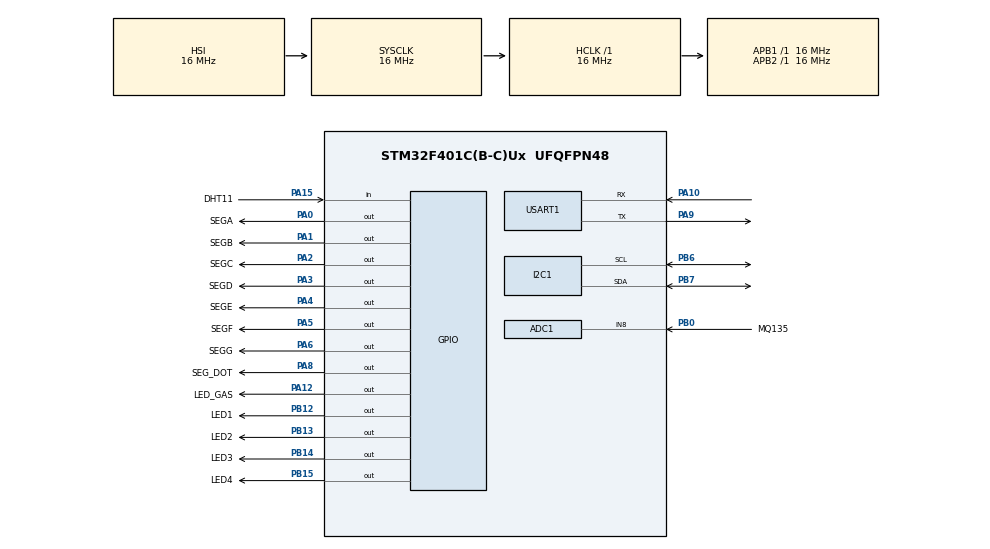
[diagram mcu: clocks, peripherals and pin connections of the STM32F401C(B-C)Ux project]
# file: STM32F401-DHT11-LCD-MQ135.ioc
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ADC1.Channel-0\#ChannelRegularConversion=ADC_CHANNEL_8
ADC1.ContinuousConvMode=ENABLE
ADC1.NbrOfConversionFlag=1
ADC1.Rank-0\#ChannelRegularConversion=1
ADC1.SamplingTime-0\#ChannelRegularConversion=ADC_SAMPLETIME_3CYCLES
ADC1.master=1
Mcu.Family=STM32F4
Mcu.Name=STM32F401C(B-C)Ux
Mcu.Package=UFQFPN48
NVIC.I2C1_EV_IRQn=true\:0\:0\:false\:true\:true\:3\:true\:true
NVIC.PriorityGroup=NVIC_PRIORITYGROUP_4
NVIC.TIM2_IRQn=true\:0\:0\:false\:true\:true\:1\:true\:true
NVIC.TIM3_IRQn=true\:0\:0\:false\:true\:true\:2\:true\:true
PA0-WKUP.GPIO_Label=SEGA
PA0-WKUP.GPIO_Speed=GPIO_SPEED_FREQ_HIGH
PA0-WKUP.Signal=GPIO_Output
PA1.GPIO_Label=SEGB
PA1.GPIO_Speed=GPIO_SPEED_FREQ_HIGH
PA1.Signal=GPIO_Output
PA10.Mode=Asynchronous
PA10.Signal=USART1_RX
PA12.GPIO_Label=LED_GAS
PA12.GPIO_Speed=GPIO_SPEED_FREQ_HIGH
PA12.Signal=GPIO_Output
PA13.Mode=Serial_Wire
PA13.Signal=SYS_JTMS-SWDIO
PA14.Mode=Serial_Wire
PA14.Signal=SYS_JTCK-SWCLK
PA15.GPIO_Label=DHT11
PA15.GPIO_PuPd=GPIO_PULLUP
PA15.Signal=GPIO_Input
PA2.GPIO_Label=SEGC
PA2.GPIO_Speed=GPIO_SPEED_FREQ_HIGH
PA2.Signal=GPIO_Output
PA3.GPIO_Label=SEGD
PA3.GPIO_Speed=GPIO_SPEED_FREQ_HIGH
PA3.Signal=GPIO_Output
PA4.GPIO_Label=SEGE
PA4.GPIO_Speed=GPIO_SPEED_FREQ_HIGH
PA4.Signal=GPIO_Output
PA5.GPIO_Label=SEGF
PA5.GPIO_Speed=GPIO_SPEED_FREQ_HIGH
PA5.Signal=GPIO_Output
PA6.GPIO_Label=SEGG
PA6.GPIO_Speed=GPIO_SPEED_FREQ_HIGH
PA6.Signal=GPIO_Output
PA8.GPIO_Label=SEG_DOT
PA8.GPIO_Speed=GPIO_SPEED_FREQ_HIGH
PA8.Signal=GPIO_Output
PA9.Mode=Asynchronous
PA9.Signal=USART1_TX
PB0.GPIO_Label=MQ135
PB0.Signal=ADCx_IN8
PB12.GPIO_Label=LED1
PB12.GPIO_Speed=GPIO_SPEED_FREQ_HIGH
PB12.Signal=GPIO_Output
PB13.GPIO_Label=LED2
PB13.GPIO_Speed=GPIO_SPEED_FREQ_HIGH
PB13.Signal=GPIO_Output
PB14.GPIO_Label=LED3
PB14.GPIO_Speed=GPIO_SPEED_FREQ_HIGH
PB14.Signal=GPIO_Output
PB15.GPIO_Label=LED4
PB15.GPIO_Speed=GPIO_SPEED_FREQ_HIGH
PB15.Signal=GPIO_Output
PB6.GPIO_Pu=GPIO_PULLUP
PB6.Mode=I2C
PB6.Signal=I2C1_SCL
PB7.GPIO_Pu=GPIO_PULLUP
PB7.Mode=I2C
PB7.Signal=I2C1_SDA
ProjectManager.HeapSize=0x200
ProjectManager.StackSize=0x400
ProjectManager.TargetToolchain=STM32CubeIDE
RCC.AHBFreq_Value=16000000
RCC.APB1Freq_Value=16000000
RCC.APB1TimFreq_Value=16000000
RCC.APB2Freq_Value=16000000
RCC.APB2TimFreq_Value=16000000
RCC.CortexFreq_Value=16000000
RCC.HCLKFreq_Value=16000000
RCC.HSE_VALUE=25000000
RCC.HSI_VALUE=16000000
RCC.LSE_VALUE=32768
RCC.SYSCLKFreq_VALUE=16000000
RCC.VCOOutputFreq_Value=192000000
SH.ADCx_IN8.0=ADC1_IN8,IN8
TIM2.Period=0xffffffff-1
TIM2.Prescaler=16-1
TIM3.AutoReloadPreload=TIM_AUTORELOAD_PRELOAD_ENABLE
TIM3.Period=9999
TIM3.Prescaler=1599
USART1.VirtualMode=VM_ASYNC
VP_TIM2_VS_ClockSourceINT.Mode=Internal
VP_TIM3_VS_ClockSourceINT.Mode=Internal
board=custom

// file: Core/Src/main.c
/* USER CODE BEGIN Header */
/**
  ******************************************************************************
  * @file           : main.c
  * @brief          : Main program body
  ******************************************************************************
  * @attention
  *
  * <h2><center>&copy; Copyright (c) 2021 STMicroelectronics.
  * All rights reserved.</center></h2>
  *
  * This software component is licensed by ST under BSD 3-Clause license,
  * the "License"; You may not use this file except in compliance with the
  * License. You may obtain a copy of the License at:
  *                        opensource.org/licenses/BSD-3-Clause
  *
  ******************************************************************************
  */
/* USER CODE END Header */
#include "main.h"

/* USER CODE BEGIN Includes */
#include "stdio.h"
/* USER CODE END Includes */

/* USER CODE BEGIN PD */
/***************************** LCD i2c ***************************************/
/* LCD control pins */
#define PIN_RS                 (1 << 0)
#define PIN_EN                 (1 << 2)
#define BACKLIGHT              (1 << 3)
/* I2C Module Address, this is Hardware dependent */
#define SLAVE_ADDRESS_LCD 		0x4E
/*LCD Commands*/
#define LCD_FUNCTION_SET1      	0x33
#define LCD_FUNCTION_SET2      	0x32
#define LCD_4BIT_2LINE_MODE    	0x28
#define LCD_DISP_CURS_ON       	0x0E
#define LCD_DISP_ON_CURS_OFF   	0x0C  //Display on, cursor off
#define LCD_DISPLAY_OFF        	0x08
#define LCD_DISPLAY_ON         	0x04
#define LCD_CLEAR_DISPLAY      	0x01
#define LCD_ENTRY_MODE_SET     	0x04
#define LCD_INCREMENT_CURSER   	0x06
#define LCD_SET_ROW1_COL1      	0x80  //Force cursor to beginning ( 1st line)
#define LCD_SET_ROW2_COL1      	0xC0  //Force cursor to beginning ( 2nd line)
#define LCD_MOVE_DISPLAY_LEFT  	0x18
#define LCD_MOVE_DISPLAY_RIGHT 	0x1C
/***************************** LCD i2c ***************************************/
/* USER CODE END PD */

/* USER CODE BEGIN PM */
/***************************** template ***************************************/
/***************************** template ***************************************/
/* USER CODE END PM */

ADC_HandleTypeDef hadc1;

I2C_HandleTypeDef hi2c1;

TIM_HandleTypeDef htim2;
TIM_HandleTypeDef htim3;

UART_HandleTypeDef huart1;

/* USER CODE BEGIN PV */

/***************************** DHT11 ***************************************/

/***************************** DHT11 ***************************************/

/* USER CODE END PV */

void SystemClock_Config(void);
static void MX_GPIO_Init(void);
static void MX_I2C1_Init(void);
static void MX_USART1_UART_Init(void);
static void MX_TIM2_Init(void);
static void MX_ADC1_Init(void);
static void MX_TIM3_Init(void);
static void MX_NVIC_Init(void);

/* USER CODE BEGIN 0 */
/***************************** LED 7 THANH ***************************************/
uint8_t SEG7_LOOKUP_TABLE[] = {0b11111100, 0b01100000, 0b11011010, 0b11110010, 0b01100110, 0b10110110, 0b10111110, 0b11100000, 0b11111110, 0b11110110};
uint8_t SEG7_LED_LOOKUP_TABLE[] = {0b00000000, 0b00001000, 0b00000100, 0b00000010, 0b00000001};
uint8_t SEG7_Multiplex = 1;
int SEG7_displayNumber;
// seg_data tuong ung 0bABCDEFGdot
// led_data 0bxxxx1234 tuong tung led 7 thanh so 1, so 2, so 3, so 4
void SEG7_Display(uint8_t seg_data, uint8_t led_data)
{
	HAL_GPIO_WritePin(SEGA_GPIO_Port, SEGA_Pin, seg_data&0b10000000);
	HAL_GPIO_WritePin(SEGB_GPIO_Port, SEGB_Pin, seg_data&0b01000000);
	HAL_GPIO_WritePin(SEGC_GPIO_Port, SEGC_Pin, seg_data&0b00100000);
	HAL_GPIO_WritePin(SEGD_GPIO_Port, SEGD_Pin, seg_data&0b00010000);
	HAL_GPIO_WritePin(SEGE_GPIO_Port, SEGE_Pin, seg_data&0b00001000);
	HAL_GPIO_WritePin(SEGF_GPIO_Port, SEGF_Pin, seg_data&0b00000100);
	HAL_GPIO_WritePin(SEGG_GPIO_Port, SEGG_Pin, seg_data&0b00000010);
	HAL_GPIO_WritePin(SEG_DOT_GPIO_Port, SEG_DOT_Pin, seg_data&0b00000001);

	HAL_GPIO_WritePin(GPIOB, LED1_Pin, !(led_data&0b00001000));
	HAL_GPIO_WritePin(GPIOB, LED2_Pin, !(led_data&0b00000100));
	HAL_GPIO_WritePin(GPIOB, LED3_Pin, !(led_data&0b00000010));
	HAL_GPIO_WritePin(GPIOB, LED4_Pin, !(led_data&0b00000001));
}

void display_number(int number)
{
	char temp;
	switch(SEG7_Multiplex)
	{
	case 1:
		temp = number%10;
		number /= 10;
	case 2:
		temp = number%10;
		number /= 10;
	case 3:
		temp = number%10;
		number /= 10;
	case 4:
		temp = number%10;
	}
	if(SEG7_Multiplex == 3) // truong hop co dau cham
	{
		SEG7_Display(SEG7_LOOKUP_TABLE[temp]|0x01, SEG7_LED_LOOKUP_TABLE[SEG7_Multiplex]);
	}
	else
	{
		SEG7_Display(SEG7_LOOKUP_TABLE[temp], SEG7_LED_LOOKUP_TABLE[SEG7_Multiplex]);
	}
	SEG7_Multiplex++;
	if(SEG7_Multiplex > 4)
	{
		SEG7_Multiplex = 1;
	}
}
/***************************** LED 7 THANH ***************************************/

/***************************** TIMER ***************************************/
void HAL_TIM_PeriodElapsedCallback(TIM_HandleTypeDef *htim)
{
	if(htim->Instance == TIM3)
	{
		char temp;
		int number = SEG7_displayNumber;
			switch(SEG7_Multiplex)
			{
			case 1:
				temp = number%10;
				number /= 10;
			case 2:
				temp = number%10;
				number /= 10;
			case 3:
				temp = number%10;
				number /= 10;
			case 4:
				temp = number%10;
			}
			if(SEG7_Multiplex == 3) // truong hop co dau cham
			{
				SEG7_Display(SEG7_LOOKUP_TABLE[temp]|0x01, SEG7_LED_LOOKUP_TABLE[SEG7_Multiplex]);
			}
			else
			{
				SEG7_Display(SEG7_LOOKUP_TABLE[temp], SEG7_LED_LOOKUP_TABLE[SEG7_Multiplex]);
			}
			SEG7_Multiplex++;
			if(SEG7_Multiplex > 4)
			{
				SEG7_Multiplex = 1;
			}
	}
}
/***************************** TIMER ***************************************/

/***************************** DHT11 ***************************************/
uint8_t DHT11_Temperature = 0;
uint8_t DHT11_Humidity = 0;
uint8_t hByte1, hByte2, tByte1, tByte2, presence;
uint8_t checksum;
/**
  * @brief GPIO Initialization Function
  * @param None
  * @retval None
  */
static void DHT11_GpioInput(void)
{
  GPIO_InitTypeDef GPIO_InitStruct = {0};
  /*Configure GPIO pin : PC13 */
  GPIO_InitStruct.Pin = GPIO_PIN_15;
  GPIO_InitStruct.Mode = GPIO_MODE_INPUT;
  GPIO_InitStruct.Pull = GPIO_PULLUP;
  HAL_GPIO_Init(GPIOA, &GPIO_InitStruct);
}

/**
  * @brief GPIO Initialization Function
  * @param None
  * @retval None
  */
static void DHT11_GpioOutput(void)
{
  GPIO_InitTypeDef GPIO_InitStruct = {0};
  /*Configure GPIO pin Output Level */
  HAL_GPIO_WritePin(GPIOA, GPIO_PIN_15, GPIO_PIN_RESET);

  /*Configure GPIO pin : PC13 */
  GPIO_InitStruct.Pin = GPIO_PIN_15;
  GPIO_InitStruct.Mode = GPIO_MODE_OUTPUT_PP;
  GPIO_InitStruct.Pull = GPIO_NOPULL;
  GPIO_InitStruct.Speed = GPIO_SPEED_FREQ_HIGH;
  HAL_GPIO_Init(GPIOA, &GPIO_InitStruct);
}

// hàm delay us trong quá trình doc dữ liệu từ dht11
void TIM2_DelayUs(uint16_t us)
{
  __HAL_TIM_SET_COUNTER(&htim2, 0);
  while ((uint16_t)__HAL_TIM_GET_COUNTER(&htim2) < us)
    ;
}

// gửi tín hiệu bắt đầu truy�?n dữ liệu cho dht11
void DHT11_SendStart(void)
{
  DHT11_GpioOutput();
  HAL_GPIO_WritePin(GPIOA, GPIO_PIN_15, GPIO_PIN_RESET);
  HAL_Delay(18);
  HAL_GPIO_WritePin(GPIOA, GPIO_PIN_15, GPIO_PIN_SET);
  TIM2_DelayUs(20);
  DHT11_GpioInput();
}

// hàm kiểm tra phản hồi của dht11
uint8_t DHT11_CheckRespone(void)
{
  uint8_t respone = 0;
  TIM2_DelayUs(40);
  if (!HAL_GPIO_ReadPin(GPIOA, GPIO_PIN_15))
  {
    TIM2_DelayUs(80);
    if ((HAL_GPIO_ReadPin(GPIOA, GPIO_PIN_15)))
    {
      respone = 1;
    }
    else
    {
      respone = -1;
    }
  }
  while (HAL_GPIO_ReadPin(GPIOA, GPIO_PIN_15))
    ;
  return respone;
}

// đ�?c 1 byte dữ liệu từ dht11
uint8_t DHT11_ReadByte(void)
{
  uint8_t ret = 0, i;
  for (i = 0; i < 8; i++)
  {
    while (!HAL_GPIO_ReadPin(GPIOA, GPIO_PIN_15))
      ;
    TIM2_DelayUs(40);
    if (!HAL_GPIO_ReadPin(GPIOA, GPIO_PIN_15))
    {
      ret &= ~(1 << (7 - i));
    }
    else
    {
      ret |= (1 << (7 - i));
    }
    while ((HAL_GPIO_ReadPin(GPIOA, GPIO_PIN_15)))
      ;
  }
  return ret;
}

// đ�?c dữ liệu từ dht11 và chuyển đổi thành giá trị nhiệt độ và độ ẩm
void DHT11_ReadSensor(void)
{
  DHT11_SendStart();
  presence = DHT11_CheckRespone();
  hByte1 = DHT11_ReadByte();
  hByte2 = DHT11_ReadByte();
  tByte1 = DHT11_ReadByte();
  tByte2 = DHT11_ReadByte();
  checksum = DHT11_ReadByte();
  DHT11_Temperature = tByte1;
  DHT11_Humidity = hByte1;
}
/***************************** DHT11 ***************************************/

/***************************** LCD1602 I2C ***************************************/
void LCD_send_cmd (char cmd)
{
  char data_u, data_l;
	uint8_t data_t[4];
	data_u = (cmd&0xf0);
	data_l = ((cmd<<4)&0xf0);
	data_t[0] = data_u|0x0C;  //en=1, rs=0
	data_t[1] = data_u|0x08;  //en=0, rs=0
	data_t[2] = data_l|0x0C;  //en=1, rs=0
	data_t[3] = data_l|0x08;  //en=0, rs=0
	HAL_I2C_Master_Transmit(&hi2c1, SLAVE_ADDRESS_LCD,(uint8_t *) data_t, 4, 100);
}

void LCD_send_data (char data)
{
	char data_u, data_l;
	uint8_t data_t[4];
	data_u = (data&0xf0);
	data_l = ((data<<4)&0xf0);
	data_t[0] = data_u|0x0D;  //en=1, rs=0
	data_t[1] = data_u|0x09;  //en=0, rs=0
	data_t[2] = data_l|0x0D;  //en=1, rs=0
	data_t[3] = data_l|0x09;  //en=0, rs=0
	HAL_I2C_Master_Transmit(&hi2c1, SLAVE_ADDRESS_LCD,(uint8_t *) data_t, 4, 100);
}

void LCD_init (void)
{
	// 4 bit init
	HAL_Delay(50);  // wait for >40ms
	LCD_send_cmd (0x30);
	HAL_Delay(5);  // wait for >4.1ms
	LCD_send_cmd (0x30);
	HAL_Delay(1);  // wait for >100us
	LCD_send_cmd (0x30);
	HAL_Delay(10);
	LCD_send_cmd (0x20);  // 4bit mode
	HAL_Delay(10);

  // dislay init
	LCD_send_cmd (0x28); // Function set --> DL=0 (4 bit mode), N = 1 (2 line display) F = 0 (5x8 characters)
	HAL_Delay(1);
	LCD_send_cmd (0x08); //Display on/off control --> D=0,C=0, B=0  ---> display off
	HAL_Delay(1);
	LCD_send_cmd (0x01);  // clear display
	HAL_Delay(1);
	HAL_Delay(1);
	LCD_send_cmd (0x06); //Entry mode set --> I/D = 1 (increment cursor) & S = 0 (no shift)
	HAL_Delay(1);
	LCD_send_cmd (0x0C); //Display on/off control --> D = 1, C and B = 0. (Cursor and blink, last two bits)
}

void LCD_send_string (char *str)
{
	while (*str) LCD_send_data (*str++);
}

void LCD_clear_display (void)
{
	LCD_send_cmd (0x80);
	for (int i=0; i<70; i++)
	{
		LCD_send_data (' ');
	}
}

void LCD_goto_XY (int row, int col)
{
	switch (row)
    {
        case 0:
            col |= 0x80;
            break;
        case 1:
            col |= 0xC0;
            break;
    }

    LCD_send_cmd (col);
}

// Hien thi thong tin nhiet do va do am len LCD
void LCD_Display(void)
{
  char tempString[4];
  LCD_clear_display();
  LCD_goto_XY(0, 0);
  LCD_send_string("Temp: ");
  sprintf(tempString, "%u", DHT11_Temperature);
  LCD_send_string(tempString);
  LCD_send_string(" *C");
  LCD_goto_XY(1,0);
  LCD_send_string("Humid: ");
  sprintf(tempString, "%u", DHT11_Humidity);
  LCD_send_string(tempString);
  LCD_send_string(" %");
}
/***************************** LCD1602 I2C ***************************************/

/***************************** MQ135 ***************************************/
uint16_t MQ135_Raw;
float MQ135_R0 = 176.0;
float MQ135_R2 = 1000.0;
float MQ135_Rs;
float MQ135_ppm = 0;
void MQ135_ReadSensor()
{
	float volts;
	MQ135_Raw = HAL_ADC_GetValue(&hadc1);
//	// chuyen gia tri adc sang dien ap
	volts = (float) MQ135_Raw*3.3;
	volts = volts/4095.0;
//	// tinh gia tri Rs
	MQ135_Rs = (float) MQ135_R2*(1-volts);
	MQ135_Rs = (float) MQ135_Rs/volts;
//	// tinh nong do ppm
	MQ135_ppm = 159.6-133.33*(MQ135_Rs/MQ135_R0);
}
/***************************** MQ135 ***************************************/

/* USER CODE END 0 */

int main(void)
{
  /* USER CODE BEGIN 1 */
	uint8_t MSG[35] = {'\0'};
  /* USER CODE END 1 */

  /* MCU Configuration--------------------------------------------------------*/

  /* Reset of all peripherals, Initializes the Flash interface and the Systick. */
  HAL_Init();

  /* Configure the system clock */
  SystemClock_Config();

  /* Initialize all configured peripherals */
  MX_GPIO_Init();
  MX_I2C1_Init();
  MX_USART1_UART_Init();
  MX_TIM2_Init();
  MX_ADC1_Init();
  MX_TIM3_Init();

  /* Initialize interrupts */
  MX_NVIC_Init();
  /* USER CODE BEGIN 2 */
  HAL_TIM_Base_Start_IT(&htim3);
  HAL_TIM_Base_Start(&htim2);
  HAL_ADC_Start(&hadc1);
//  LCD_init();
  /* USER CODE END 2 */

  /* Infinite loop */
  /* USER CODE BEGIN WHILE */
  while (1)
  {
	  // Doc cam bien DHT11
//	  DHT11_ReadSensor();
	  //  Hien thi LCD i2c
//	  LCD_Display();
	  // Doc cam bien MQ135
	  MQ135_ReadSensor();
	  // Hien thi thong tin debug qua uart
	  sprintf(MSG, "Temperature = %d\r\n", DHT11_Temperature);
	  HAL_UART_Transmit(&huart1, MSG, sizeof(MSG), 100);
	  sprintf(MSG, "Humidity = %d\r\n", DHT11_Humidity);
	  HAL_UART_Transmit(&huart1, MSG, sizeof(MSG), 100);
	  sprintf(MSG, "MQ135 = %d\r\n", (int)MQ135_ppm*10);
	  HAL_UART_Transmit(&huart1, MSG, sizeof(MSG), 100);
	  display_number((int)MQ135_ppm*10);
	  HAL_Delay(100);
    /* USER CODE END WHILE */

  }
}

void SystemClock_Config(void)
{
  RCC_OscInitTypeDef RCC_OscInitStruct = {0};
  RCC_ClkInitTypeDef RCC_ClkInitStruct = {0};

  /** Configure the main internal regulator output voltage
  */
  __HAL_RCC_PWR_CLK_ENABLE();
  __HAL_PWR_VOLTAGESCALING_CONFIG(PWR_REGULATOR_VOLTAGE_SCALE2);
  /** Initializes the RCC Oscillators according to the specified parameters
  * in the RCC_OscInitTypeDef structure.
  */
  RCC_OscInitStruct.OscillatorType = RCC_OSCILLATORTYPE_HSI;
  RCC_OscInitStruct.HSIState = RCC_HSI_ON;
  RCC_OscInitStruct.HSICalibrationValue = RCC_HSICALIBRATION_DEFAULT;
  RCC_OscInitStruct.PLL.PLLState = RCC_PLL_NONE;
  if (HAL_RCC_OscConfig(&RCC_OscInitStruct) != HAL_OK)
  {
    Error_Handler();
  }
  /** Initializes the CPU, AHB and APB buses clocks
  */
  RCC_ClkInitStruct.ClockType = RCC_CLOCKTYPE_HCLK|RCC_CLOCKTYPE_SYSCLK
                              |RCC_CLOCKTYPE_PCLK1|RCC_CLOCKTYPE_PCLK2;
  RCC_ClkInitStruct.SYSCLKSource = RCC_SYSCLKSOURCE_HSI;
  RCC_ClkInitStruct.AHBCLKDivider = RCC_SYSCLK_DIV1;
  RCC_ClkInitStruct.APB1CLKDivider = RCC_HCLK_DIV1;
  RCC_ClkInitStruct.APB2CLKDivider = RCC_HCLK_DIV1;

  if (HAL_RCC_ClockConfig(&RCC_ClkInitStruct, FLASH_LATENCY_0) != HAL_OK)
  {
    Error_Handler();
  }
}

/**
  * @brief NVIC Configuration.
  * @retval None
  */
static void MX_NVIC_Init(void)
{
  /* TIM2_IRQn interrupt configuration */
  HAL_NVIC_SetPriority(TIM2_IRQn, 0, 0);
  HAL_NVIC_EnableIRQ(TIM2_IRQn);
  /* TIM3_IRQn interrupt configuration */
  HAL_NVIC_SetPriority(TIM3_IRQn, 0, 0);
  HAL_NVIC_EnableIRQ(TIM3_IRQn);
  /* I2C1_EV_IRQn interrupt configuration */
  HAL_NVIC_SetPriority(I2C1_EV_IRQn, 0, 0);
  HAL_NVIC_EnableIRQ(I2C1_EV_IRQn);
}

static void MX_ADC1_Init(void)
{

  ADC_ChannelConfTypeDef sConfig = {0};

  /** Configure the global features of the ADC (Clock, Resolution, Data Alignment and number of conversion)
  */
  hadc1.Instance = ADC1;
  hadc1.Init.ClockPrescaler = ADC_CLOCK_SYNC_PCLK_DIV2;
  hadc1.Init.Resolution = ADC_RESOLUTION_12B;
  hadc1.Init.ScanConvMode = DISABLE;
  hadc1.Init.ContinuousConvMode = ENABLE;
  hadc1.Init.DiscontinuousConvMode = DISABLE;
  hadc1.Init.ExternalTrigConvEdge = ADC_EXTERNALTRIGCONVEDGE_NONE;
  hadc1.Init.ExternalTrigConv = ADC_SOFTWARE_START;
  hadc1.Init.DataAlign = ADC_DATAALIGN_RIGHT;
  hadc1.Init.NbrOfConversion = 1;
  hadc1.Init.DMAContinuousRequests = DISABLE;
  hadc1.Init.EOCSelection = ADC_EOC_SINGLE_CONV;
  if (HAL_ADC_Init(&hadc1) != HAL_OK)
  {
    Error_Handler();
  }
  /** Configure for the selected ADC regular channel its corresponding rank in the sequencer and its sample time.
  */
  sConfig.Channel = ADC_CHANNEL_8;
  sConfig.Rank = 1;
  sConfig.SamplingTime = ADC_SAMPLETIME_3CYCLES;
  if (HAL_ADC_ConfigChannel(&hadc1, &sConfig) != HAL_OK)
  {
    Error_Handler();
  }

}

static void MX_I2C1_Init(void)
{

  /* USER CODE BEGIN I2C1_Init 0 */
//	HAL_I2C_MspInit(&hi2c1);
  /* USER CODE END I2C1_Init 0 */

  hi2c1.Instance = I2C1;
  hi2c1.Init.ClockSpeed = 100000;
  hi2c1.Init.DutyCycle = I2C_DUTYCYCLE_2;
  hi2c1.Init.OwnAddress1 = 0;
  hi2c1.Init.AddressingMode = I2C_ADDRESSINGMODE_7BIT;
  hi2c1.Init.DualAddressMode = I2C_DUALADDRESS_DISABLE;
  hi2c1.Init.OwnAddress2 = 0;
  hi2c1.Init.GeneralCallMode = I2C_GENERALCALL_DISABLE;
  hi2c1.Init.NoStretchMode = I2C_NOSTRETCH_DISABLE;
  if (HAL_I2C_Init(&hi2c1) != HAL_OK)
  {
    Error_Handler();
  }

}

static void MX_TIM2_Init(void)
{

  TIM_ClockConfigTypeDef sClockSourceConfig = {0};
  TIM_MasterConfigTypeDef sMasterConfig = {0};

  htim2.Instance = TIM2;
  htim2.Init.Prescaler = 16-1;
  htim2.Init.CounterMode = TIM_COUNTERMODE_UP;
  htim2.Init.Period = 0xffffffff-1;
  htim2.Init.ClockDivision = TIM_CLOCKDIVISION_DIV1;
  htim2.Init.AutoReloadPreload = TIM_AUTORELOAD_PRELOAD_DISABLE;
  if (HAL_TIM_Base_Init(&htim2) != HAL_OK)
  {
    Error_Handler();
  }
  sClockSourceConfig.ClockSource = TIM_CLOCKSOURCE_INTERNAL;
  if (HAL_TIM_ConfigClockSource(&htim2, &sClockSourceConfig) != HAL_OK)
  {
    Error_Handler();
  }
  sMasterConfig.MasterOutputTrigger = TIM_TRGO_RESET;
  sMasterConfig.MasterSlaveMode = TIM_MASTERSLAVEMODE_DISABLE;
  if (HAL_TIMEx_MasterConfigSynchronization(&htim2, &sMasterConfig) != HAL_OK)
  {
    Error_Handler();
  }

}

static void MX_TIM3_Init(void)
{

  TIM_ClockConfigTypeDef sClockSourceConfig = {0};
  TIM_MasterConfigTypeDef sMasterConfig = {0};

  htim3.Instance = TIM3;
  htim3.Init.Prescaler = 1599;
  htim3.Init.CounterMode = TIM_COUNTERMODE_UP;
  htim3.Init.Period = 9999;
  htim3.Init.ClockDivision = TIM_CLOCKDIVISION_DIV1;
  htim3.Init.AutoReloadPreload = TIM_AUTORELOAD_PRELOAD_ENABLE;
  if (HAL_TIM_Base_Init(&htim3) != HAL_OK)
  {
    Error_Handler();
  }
  sClockSourceConfig.ClockSource = TIM_CLOCKSOURCE_INTERNAL;
  if (HAL_TIM_ConfigClockSource(&htim3, &sClockSourceConfig) != HAL_OK)
  {
    Error_Handler();
  }
  sMasterConfig.MasterOutputTrigger = TIM_TRGO_RESET;
  sMasterConfig.MasterSlaveMode = TIM_MASTERSLAVEMODE_DISABLE;
  if (HAL_TIMEx_MasterConfigSynchronization(&htim3, &sMasterConfig) != HAL_OK)
  {
    Error_Handler();
  }

}

static void MX_USART1_UART_Init(void)
{

  huart1.Instance = USART1;
  huart1.Init.BaudRate = 115200;
  huart1.Init.WordLength = UART_WORDLENGTH_8B;
  huart1.Init.StopBits = UART_STOPBITS_1;
  huart1.Init.Parity = UART_PARITY_NONE;
  huart1.Init.Mode = UART_MODE_TX_RX;
  huart1.Init.HwFlowCtl = UART_HWCONTROL_NONE;
  huart1.Init.OverSampling = UART_OVERSAMPLING_16;
  if (HAL_UART_Init(&huart1) != HAL_OK)
  {
    Error_Handler();
  }

}

static void MX_GPIO_Init(void)
{
  GPIO_InitTypeDef GPIO_InitStruct = {0};

  /* GPIO Ports Clock Enable */
  __HAL_RCC_GPIOA_CLK_ENABLE();
  __HAL_RCC_GPIOB_CLK_ENABLE();

  /*Configure GPIO pin Output Level */
  HAL_GPIO_WritePin(GPIOA, SEGA_Pin|SEGB_Pin|SEGC_Pin|SEGD_Pin
                          |SEGE_Pin|SEGF_Pin|SEGG_Pin|SEG_DOT_Pin
                          |LED_GAS_Pin, GPIO_PIN_RESET);

  /*Configure GPIO pin Output Level */
  HAL_GPIO_WritePin(GPIOB, LED1_Pin|LED2_Pin|LED3_Pin|LED4_Pin, GPIO_PIN_RESET);

  /*Configure GPIO pins : SEGA_Pin SEGB_Pin SEGC_Pin SEGD_Pin
                           SEGE_Pin SEGF_Pin SEGG_Pin SEG_DOT_Pin
                           LED_GAS_Pin */
  GPIO_InitStruct.Pin = SEGA_Pin|SEGB_Pin|SEGC_Pin|SEGD_Pin
                          |SEGE_Pin|SEGF_Pin|SEGG_Pin|SEG_DOT_Pin
                          |LED_GAS_Pin;
  GPIO_InitStruct.Mode = GPIO_MODE_OUTPUT_PP;
  GPIO_InitStruct.Pull = GPIO_NOPULL;
  GPIO_InitStruct.Speed = GPIO_SPEED_FREQ_HIGH;
  HAL_GPIO_Init(GPIOA, &GPIO_InitStruct);

  /*Configure GPIO pins : LED1_Pin LED2_Pin LED3_Pin LED4_Pin */
  GPIO_InitStruct.Pin = LED1_Pin|LED2_Pin|LED3_Pin|LED4_Pin;
  GPIO_InitStruct.Mode = GPIO_MODE_OUTPUT_PP;
  GPIO_InitStruct.Pull = GPIO_NOPULL;
  GPIO_InitStruct.Speed = GPIO_SPEED_FREQ_HIGH;
  HAL_GPIO_Init(GPIOB, &GPIO_InitStruct);

  /*Configure GPIO pin : DHT11_Pin */
  GPIO_InitStruct.Pin = DHT11_Pin;
  GPIO_InitStruct.Mode = GPIO_MODE_INPUT;
  GPIO_InitStruct.Pull = GPIO_PULLUP;
  HAL_GPIO_Init(DHT11_GPIO_Port, &GPIO_InitStruct);

}

void Error_Handler(void)
{
  __disable_irq();
  while (1)
  {
  }
}

/************************ (C) COPYRIGHT STMicroelectronics *****END OF FILE****/
